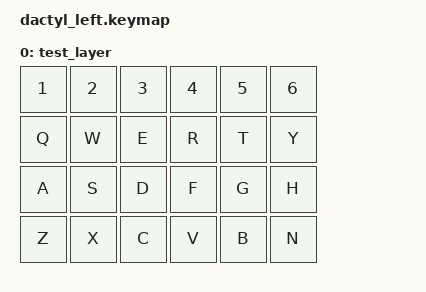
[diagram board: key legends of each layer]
#include <behaviors.dtsi>
#include <dt-bindings/zmk/keys.h>

/ {
    keymap {
        compatible = "zmk,keymap";

        test_layer {
            bindings = <
                &kp N1  &kp N2  &kp N3  &kp N4  &kp N5  &kp N6
                &kp Q   &kp W   &kp E   &kp R   &kp T   &kp Y
                &kp A   &kp S   &kp D   &kp F   &kp G   &kp H
                &kp Z   &kp X   &kp C   &kp V   &kp B   &kp N
            >;
        };
    };
};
